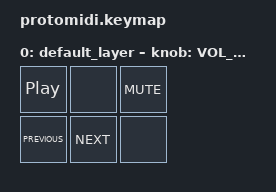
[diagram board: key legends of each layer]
#include <behaviors.dtsi>
#include <dt-bindings/zmk/keys.h>

/ {
    keymap {
        compatible = "zmk,keymap";

        default_layer {
            bindings = <
                &kp C_PLAY_PAUSE  &none       &kp C_MUTE
                &kp C_PREVIOUS    &kp C_NEXT  &none
            >;

            sensor-bindings = <&inc_dec_kp C_VOL_UP C_VOL_DN>;
        };
    };
};
